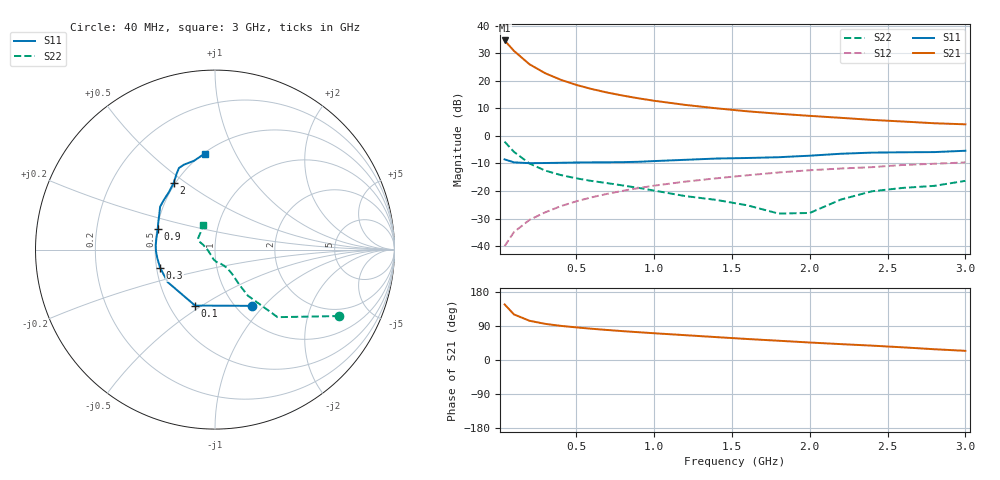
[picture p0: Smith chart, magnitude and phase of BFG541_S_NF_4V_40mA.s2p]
! Filename:  BFG541E.S2P  Version:  3.0
! Philips part #: BFG541  Date: Feb 1992
! Bias condition: Vce=4V, Ic=40mA
#  MHz  S  MA  R  50
! Freq  S11  S21  S12  S22  !GUM [dB]
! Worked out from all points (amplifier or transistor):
!   21 points, 40 MHz to 3 GHz, reference 50 ohm
!   highest |S21| = 34.6 dB at 40 MHz (marker M1)
!   |S21| within 3 dB of that: start of sweep to 87.59 MHz
!   unconditionally stable (mu >= 1): 398.5 MHz to 2.9 GHz
!   at 300 MHz: K = 0.97, MSG = 25.2 dB, |S12| = -27.7 dB
!   at 1 GHz: K = 1.05, MAG = 14.0 dB, |S12| = -18.1 dB
!   at 3 GHz: K = 0.98, MSG = 6.9 dB, |S12| = -9.6 dB
!   lowest NFmin = 1.90 dB at 900 MHz
!   S11 on the Smith chart (normalised r, x): 40 MHz: 1.18, -0.86; 100 MHz: 0.67, -0.47; 300 MHz: 0.52, -0.12; 900 MHz: 0.51, +0.13; 2 GHz: 0.49, +0.45; 3 GHz: 0.51, +0.76
40  0.375 -56.7  53.7 146.7  0.01 74.5  0.786 -28.1
100  0.331 -109.6  34.74 120.3  0.018 68.1  0.513 -47.2
200  0.32 -145.6  19.85 103.5  0.03 70.4  0.315 -54.5
300  0.322 -161.7  13.71 95.4  0.041 72.3  0.235 -55.3
400  0.325 -171.6  10.41 90.1  0.053 73.4  0.195 -55.0
500  0.329 -178.6  8.409 86.1  0.065 73.4  0.17 -54.9
600  0.331 175.7  7.065 82.4  0.077 73.4  0.152 -55.3
700  0.332 170.3  6.097 79.2  0.089 72.6  0.139 -55.9
800  0.334 165.0  5.368 76.1  0.101 71.8  0.126 -56.6
900  0.339 160.0  4.799 73.3  0.113 71.1  0.114 -58.2
1000  0.349 155.1  4.329 70.6  0.125 70.1  0.102 -61.0
1200  0.368 147.5  3.646 65.5  0.148 67.8  0.081 -69.8
1400  0.388 142.0  3.16 60.4  0.17 65.2  0.069 -83.6
1600  0.397 136.0  2.788 55.4  0.193 63.3  0.055 -98.4
1800  0.41 128.9  2.519 50.8  0.217 59.9  0.039 -122.5
2000  0.437 121.8  2.305 46.2  0.238 57.5  0.04 -175.2
2200  0.474 116.8  2.123 41.9  0.256 54.9  0.07 158.3
2400  0.497 113.8  1.946 37.9  0.271 53.2  0.099 152.7
2600  0.504 110.1  1.819 33.4  0.297 49.6  0.114 145.1
2800  0.508 103.5  1.694 28.4  0.312 45.4  0.124 131.0
3000  0.537 96.2  1.619 24.2  0.33 43.4  0.153 116.2
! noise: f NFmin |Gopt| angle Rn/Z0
900  1.9  0.455  -168  0.08
2000  2.6  0.59  -134  0.25
